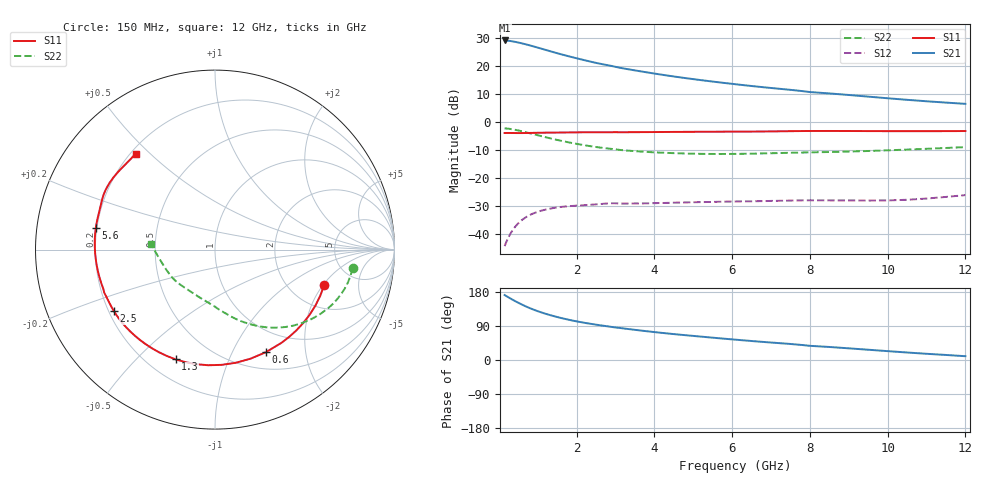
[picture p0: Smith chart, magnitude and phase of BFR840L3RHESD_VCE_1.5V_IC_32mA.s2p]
! Infineon Technologies  Discrete & RF Semiconductors
! BFR840L3RHESD
! VCE =  1.5 V,  IC =  32 mA
! Common Emitter S-Parameters:  Jun 2012
# GHz  S  MA  R  50
!  f  S11  S21  S12  S22
! GHz  MAG  ANG  MAG  ANG  MAG  ANG  MAG  ANG
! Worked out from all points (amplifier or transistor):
!   91 points, 150 MHz to 12 GHz, reference 50 ohm
!   highest |S21| = 29.2 dB at 150 MHz (marker M1)
!   |S21| within 3 dB of that: start of sweep to 1.113 GHz
!   unconditionally stable (mu >= 1): 4.422 GHz to end of sweep
!   at 1.3 GHz: K = 0.38, MSG = 28.2 dB, |S12| = -30.9 dB
!   at 4.3 GHz: K = 0.98, MSG = 22.8 dB, |S12| = -28.8 dB
!   at 12 GHz: K = 2.28, MAG = 9.9 dB, |S12| = -26.1 dB
!   S11 on the Smith chart (normalised r, x): 150 MHz: 3.08, -2.05; 600 MHz: 0.71, -1.36; 1.3 GHz: 0.31, -0.66; 2.5 GHz: 0.22, -0.27; 5.6 GHz: 0.20, +0.09; 12 GHz: 0.22, +0.45
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0.15  0.6392 -17.9  28.71 171.4  0.0061 70.9  0.7737 -7.6
0.25  0.6406 -29.1  28.36 165.3  0.0088 67.3  0.7629 -13.9
0.35  0.6395 -39.7  27.69 159.4  0.0116 64.2  0.7447 -19.6
0.5  0.6379 -54.5  26.4 151.1  0.0156 59.9  0.7099 -27.4
0.6  0.638 -63.5  25.44 146.0  0.018 57.1  0.6845 -32.1
0.7  0.6393 -71.9  24.44 141.2  0.0201 54.4  0.6585 -36.4
0.9  0.6432 -86.8  22.41 132.7  0.0236 49.1  0.6078 -44.2
1.1  0.647 -99.2  20.45 125.4  0.0263 44.4  0.5607 -50.8
1.3  0.6496 -109.8  18.64 119.1  0.0284 40.5  0.5184 -56.6
1.5  0.6515 -118.7  17.02 113.5  0.03 37.5  0.4812 -61.7
1.7  0.6534 -126.4  15.61 108.5  0.0311 35.0  0.4491 -66.2
1.9  0.6555 -133.1  14.38 104.0  0.0319 33.0  0.4216 -70.4
2.2  0.6584 -141.6  12.78 98.2  0.0329 30.2  0.3872 -75.9
2.5  0.6593 -148.8  11.43 93.3  0.034 27.9  0.3595 -80.7
3  0.6621 -158.7  9.717 85.8  0.0356 25.8  0.3266 -88.0
3.6  0.6625 -168.1  8.169 78.4  0.0353 25.1  0.2998 -96.4
4.2  0.6665 -175.7  7.016 71.5  0.036 25.1  0.2847 -104.3
5.6  0.6748 169.9  5.198 58.0  0.0378 26.7  0.27 -122.2
6.1  0.6766 165.6  4.738 53.6  0.0383 27.1  0.2711 -128.4
8.5  0.6952 147.5  3.254 34.4  0.0401 30.4  0.2927 -156.9
10.5  0.6888 135.9  2.502 19.8  0.0411 39.5  0.3234 -174.7
12  0.6934 129.5  2.12 10.0  0.0498 44.2  0.3582 174.9
